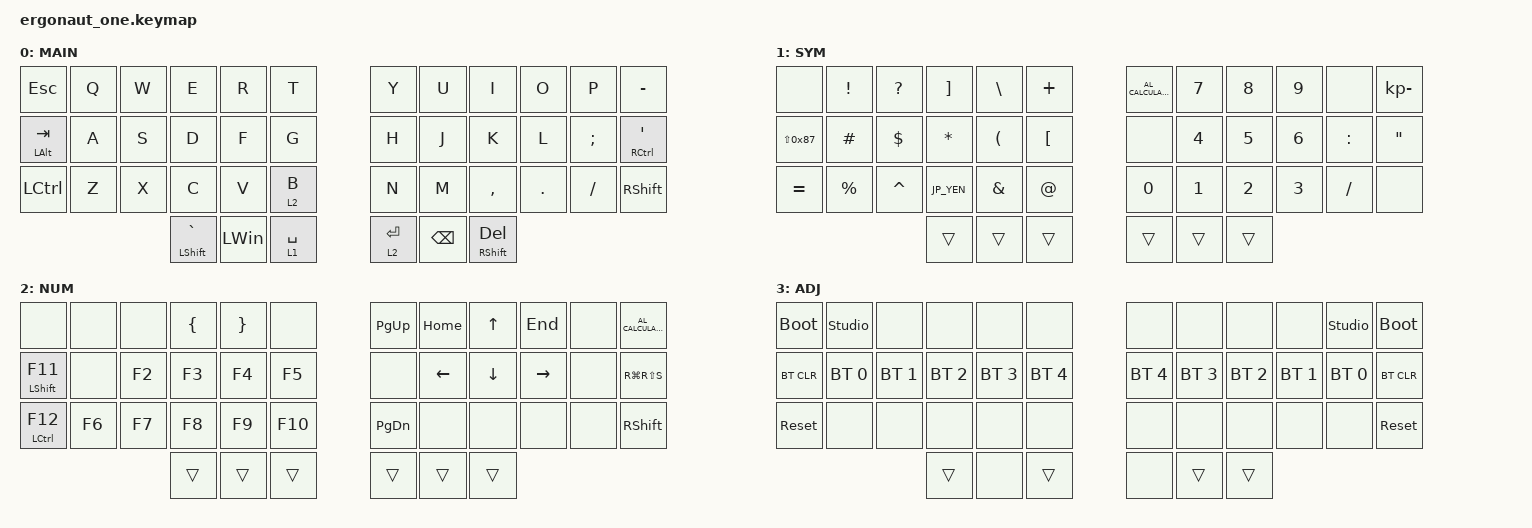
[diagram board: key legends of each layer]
#include <behaviors.dtsi>
#include <dt-bindings/zmk/bt.h>
#include <dt-bindings/zmk/keys.h>

#define DEF 0
#define LWR 1
#define RSE 2
#define ADJ 3

// OS設定を日本語キーボードのまま使用するための変換定義

#define JP_DQUOTE       AT                // "
#define JP_AMPERSAND    CARET             // &
#define JP_QUOTE        AMPERSAND         // '
#define JP_EQUAL        UNDER             // =
#define JP_CARET        EQUAL             // ^
#define JP_YEN          0x89              // ¥
#define JP_PLUS         COLON             // +
#define JP_TILDE        PLUS              // ~
#define JP_PIPE         LS(0x89)          // |
#define JP_AT           LEFT_BRACKET      // @
#define JP_COLON        SINGLE_QUOTE      // :
#define JP_ASTERISK     DOUBLE_QUOTES     // *
#define JP_BACKQUOTE    LEFT_BRACE        // `
#define JP_UNDERSCORE   LS(0x87)          // _
#define JP_LBRACKET     RIGHT_BRACKET     // [
#define JP_RBRACKET     BACKSLASH         // ]
#define JP_LPAREN       ASTERISK          // (
#define JP_RPAREN       LEFT_PARENTHESIS  // )
#define JP_LBRACE       RIGHT_BRACE       // {
#define JP_RBRACE       PIPE              // }
#define JP_KANA         LANGUAGE_1        // かな
#define JP_EISU         LANGUAGE_2        // 英数
#define JP_HANZEN       GRAVE             // 半角/全角

&lt { quick-tap-ms = <200>; };

&mt { quick-tap-ms = <200>; };

/ {
    conditional_layers {
        compatible = "zmk,conditional-layers";

        tri-layer {
            if-layers = <1 2>;
            then-layer = <3>;
        };
    };

    keymap {
        compatible = "zmk,keymap";

        default_layer {
            display-name = "MAIN";
            bindings = <
&kp ESC           &kp Q  &kp W  &kp E                 &kp R         &kp T        &kp Y        &kp U          &kp I                &kp O    &kp P     &kp MINUS
&mt LEFT_ALT TAB  &kp A  &kp S  &kp D                 &kp F         &kp G        &kp H        &kp J          &kp K                &kp L    &kp SEMI  &mt RCTRL JP_COLON
&kp LCTRL         &kp Z  &kp X  &kp C                 &kp V         &lt 2 B      &kp N        &kp M          &kp COMMA            &kp DOT  &kp FSLH  &kp RIGHT_SHIFT
                                &mt LEFT_SHIFT GRAVE  &kp LEFT_WIN  &lt 1 SPACE  &lt 2 ENTER  &kp BACKSPACE  &mt RIGHT_SHIFT DEL
            >;
        };

        lower_layer {
            display-name = "SYM";
            bindings = <
&none              &kp EXCL     &kp QUESTION      &kp JP_LBRACKET  &kp JP_RBRACKET  &kp JP_TILDE   &kp C_AL_CALCULATOR  &kp NUMBER_7  &kp NUMBER_8  &kp NUMBER_9  &none        &kp KP_MINUS
&kp JP_UNDERSCORE  &kp HASH     &kp DOLLAR        &kp JP_LPAREN    &kp JP_RPAREN    &kp JP_AT      &none                &kp NUMBER_4  &kp NUMBER_5  &kp NUMBER_6  &kp JP_PLUS  &kp JP_ASTERISK
&kp JP_CARET       &kp PERCENT  &kp JP_AMPERSAND  &kp JP_YEN       &kp JP_QUOTE     &kp JP_DQUOTE  &kp NUMBER_0         &kp NUMBER_1  &kp NUMBER_2  &kp NUMBER_3  &kp SLASH    &none
                                                  &trans           &trans           &trans         &trans               &trans        &trans
            >;
        };

        raise_layer {
            display-name = "NUM";
            bindings = <
&none               &none   &none   &kp LEFT_BRACE  &kp RIGHT_BRACE  &none    &kp PAGE_UP    &kp HOME  &kp UP_ARROW    &kp END    &none  &kp C_AL_CALCULATOR
&mt LEFT_SHIFT F11  &none   &kp F2  &kp F3          &kp F4           &kp F5   &none          &kp LEFT  &kp DOWN_ARROW  &kp RIGHT  &none  &kp RG(RS(S))
&mt LCTRL F12       &kp F6  &kp F7  &kp F8          &kp F9           &kp F10  &kp PAGE_DOWN  &none     &none           &none      &none  &kp RIGHT_SHIFT
                                    &trans          &trans           &trans   &trans         &trans    &trans
            >;
        };

        adjust_layer {
            display-name = "ADJ";
            bindings = <
&bootloader  &studio_unlock  &none         &none         &none         &none         &none         &none         &none         &none         &studio_unlock  &bootloader
&bt BT_CLR   &bt BT_SEL 0    &bt BT_SEL 1  &bt BT_SEL 2  &bt BT_SEL 3  &bt BT_SEL 4  &bt BT_SEL 4  &bt BT_SEL 3  &bt BT_SEL 2  &bt BT_SEL 1  &bt BT_SEL 0    &bt BT_CLR
&sys_reset   &none           &none         &none         &none         &none         &none         &none         &none         &none         &none           &sys_reset
                                           &trans        &none         &trans        &none         &trans        &trans
            >;
        };
    };
};
